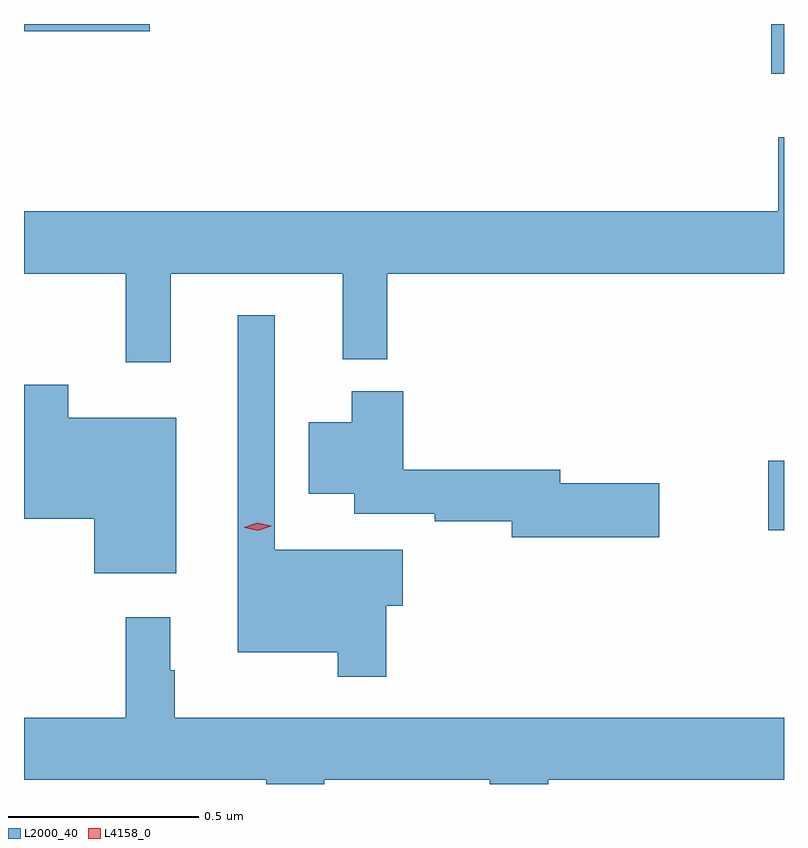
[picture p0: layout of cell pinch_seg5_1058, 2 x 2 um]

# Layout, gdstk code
import gdstk
lib = gdstk.Library(unit=1e-6, precision=1e-09)
def R(c, l, rs):  # rectangles x0, y0, x1, y1
    for r in rs: c.add(gdstk.rectangle(r[:2], r[2:], *l))
def P(c, l, *ps):  # polygons
    for p in ps: c.add(gdstk.Polygon(p, *l))
L2000_40 = (2000, 40)
L4158_0 = (4158, 0)

pinch_seg5_1058 = lib.new_cell('pinch_seg5_1058')
R(pinch_seg5_1058, L2000_40, [(747.216,840.101,747.257,840.284), (747.224,841.302,747.257,841.433), (745.257,841.414,745.588,841.433)])
P(pinch_seg5_1058, L2000_40, [(745.643,840.776),(746.096,840.776),(746.096,840.551),(746.213,840.551),(746.213,840.776),(747.257,840.776),(747.257,841.135),(747.242,841.135),(747.242,840.94),(745.257,840.94),(745.257,840.776),(745.525,840.776),(745.525,840.543),(745.643,840.543)],
  [(746.21,839.902),(746.254,839.902),(746.254,840.049),(745.917,840.049),(745.917,840.667),(745.82,840.667),(745.82,839.78),(746.082,839.78),(746.082,839.715),(746.21,839.715)],
  [(745.657,840.397),(745.374,840.397),(745.374,840.484),(745.257,840.484),(745.257,840.131),(745.442,840.131),(745.442,839.987),(745.657,839.987)],
  [(746.929,840.224),(746.668,840.224),(746.668,840.26),(746.255,840.26),(746.255,840.466),(746.12,840.466),(746.12,840.385),(746.006,840.385),(746.006,840.197),(746.126,840.197),(746.126,840.144),(746.338,840.144),(746.338,840.124),(746.54,840.124),(746.54,840.082),(746.929,840.082)],
  [(746.047,839.444),(746.483,839.444),(746.483,839.433),(746.636,839.433),(746.636,839.444),(747.257,839.444),(747.257,839.608),(745.654,839.608),(745.654,839.732),(745.642,839.732),(745.642,839.872),(745.525,839.872),(745.525,839.608),(745.257,839.608),(745.257,839.444),(745.895,839.444),(745.895,839.433),(746.047,839.433)])
P(pinch_seg5_1058, L4158_0, [(745.872,840.1),(745.836,840.108),(745.836,840.109),(745.836,840.109),(745.871,840.12),(745.907,840.112),(745.907,840.111),(745.907,840.111)])

lib.write_gds('pinch_seg5_1058.gds')
